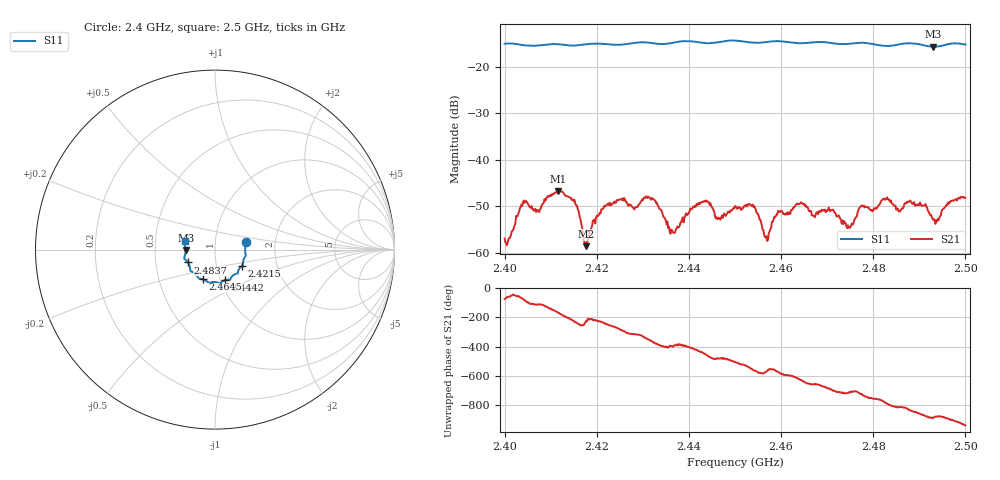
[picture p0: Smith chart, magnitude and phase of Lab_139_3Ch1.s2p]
# Hz S RI R 50
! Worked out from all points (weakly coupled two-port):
!   601 points, 2.4 GHz to 2.5 GHz, reference 50 ohm
!   highest |S21| = -46.71 dB at 2.4117 GHz (marker M1); lowest = -58.6 dB at 2.4177 GHz (marker M2)
!   lowest |S11| = -15.7 dB at 2.493 GHz (marker M3), VSWR 1.39, Z = 36 - j0.218 ohm
!   |S11| at or under -10 dB: start of sweep to end of sweep
!   S12 and S22 are empty: the file has one direction only
!   S11 on the Smith chart (normalised r, x): 2.4 GHz: 1.41, +0.12; 2.4215 GHz: 1.33, -0.25; 2.4442 GHz: 1.05, -0.37; 2.4645 GHz: 0.83, -0.29; 2.4837 GHz: 0.73, -0.11; 2.5 GHz: 0.71, +0.07
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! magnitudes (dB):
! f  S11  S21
! 2.4 GHz  -15.1  -56.9
! 2.4042 GHz  -15.4  -48.8
! 2.4117 GHz  -15.2  -46.7
! 2.4152 GHz  -15.5  -48.6
! 2.4167 GHz  -15.3  -53.9
! 2.4177 GHz  -15.2  -58.6
! 2.4215 GHz  -15.1  -50.3
! 2.4333 GHz  -15.1  -49.9
! 2.4365 GHz  -14.9  -55.5
! 2.4442 GHz  -15.0  -49.0
! 2.4463 GHz  -14.8  -52.7
! 2.45 GHz  -14.4  -49.9
! 2.454 GHz  -14.9  -50.1
! 2.4568 GHz  -14.7  -56.4
! 2.4595 GHz  -14.5  -51.1
! 2.4645 GHz  -15.0  -49.3
! 2.4667 GHz  -14.8  -51.9
! 2.4747 GHz  -15.1  -54.6
! 2.4833 GHz  -15.6  -48.5
! 2.4837 GHz  -15.5  -49.0
! 2.493 GHz  -15.7  -52.9
! 2.5 GHz  -15.2  -48.2
